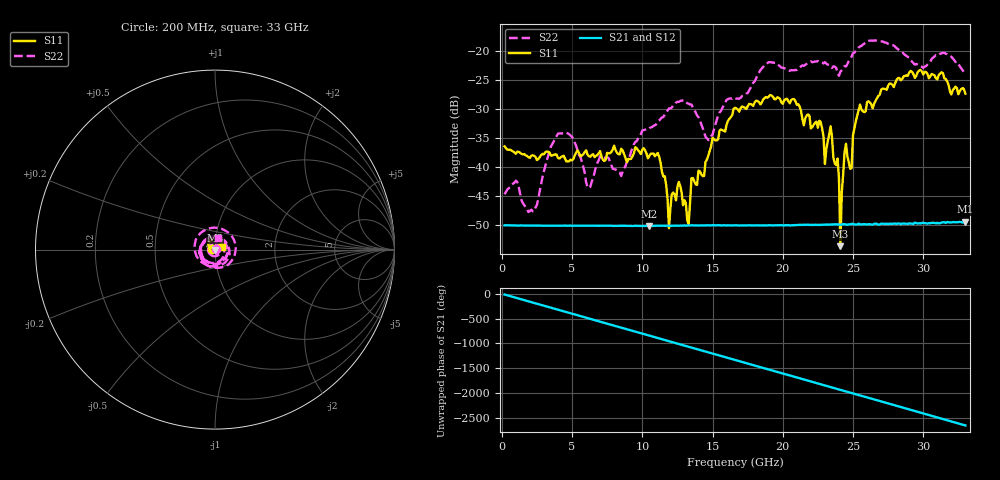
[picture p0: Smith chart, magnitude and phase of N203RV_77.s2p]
# GHZ S RI R 50
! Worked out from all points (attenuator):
!   329 points, 200 MHz to 33 GHz, reference 50 ohm
!   highest |S21| = -49.35 dB at 33 GHz (marker M1); lowest = -50.1 dB at 10.5 GHz (marker M2)
!   lowest |S11| = -53.6 dB at 24.1 GHz (marker M3), VSWR 1.00, Z = 50 - j0.208 ohm
!   |S11| at or under -10 dB: start of sweep to end of sweep
!   |S22| runs from -47.7 to -18.2 dB; largest |S21 - S12| = 7.2e-05
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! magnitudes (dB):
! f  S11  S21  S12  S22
! 200 MHz  -36.4  -50.0  -50.0  -44.6
! 2.3 GHz  -38.0  -50.0  -50.0  -47.6
! 4 GHz  -38.4  -50.0  -50.0  -34.2
! 5.7 GHz  -38.0  -50.0  -50.0  -39.0
! 8.5 GHz  -36.8  -50.1  -50.1  -41.5
! 10.5 GHz  -38.0  -50.1  -50.1  -33.3
! 11.2 GHz  -38.2  -50.0  -50.0  -32.0
! 11.9 GHz  -50.5  -50.0  -50.0  -29.9
! 12.6 GHz  -42.5  -50.1  -50.0  -28.8
! 13.3 GHz  -49.8  -50.0  -50.0  -29.1
! 13.5 GHz  -41.9  -50.0  -50.0  -29.2
! 14.7 GHz  -38.0  -50.0  -50.0  -35.3
! 16.6 GHz  -29.8  -50.0  -50.0  -28.1
! 22.1 GHz  -33.1  -49.9  -49.9  -22.0
! 23 GHz  -39.4  -49.9  -49.8  -22.0
! 23.4 GHz  -33.0  -49.8  -49.8  -22.7
! 23.9 GHz  -38.5  -49.8  -49.8  -23.8
! 24.1 GHz  -53.6  -49.9  -49.8  -23.6
! 24.5 GHz  -36.0  -49.9  -49.8  -22.7
! 24.9 GHz  -40.2  -49.7  -49.8  -21.0
! 27.6 GHz  -25.6  -49.7  -49.7  -18.9
! 33 GHz  -27.4  -49.4  -49.4  -23.8
